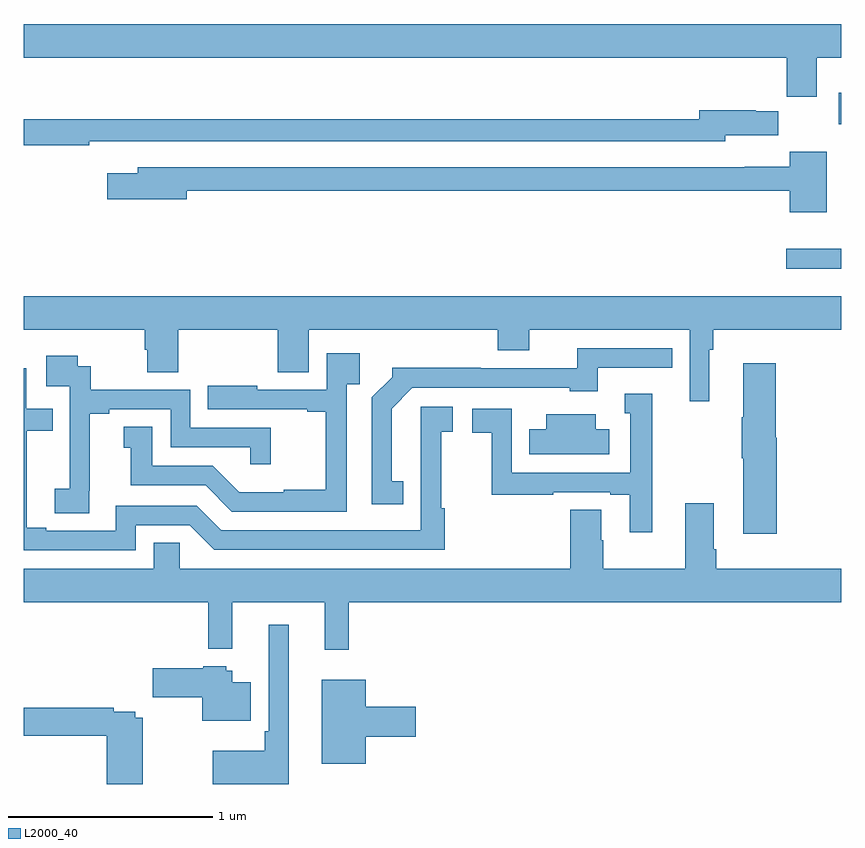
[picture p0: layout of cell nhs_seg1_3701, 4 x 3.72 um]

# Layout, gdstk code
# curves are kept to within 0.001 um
import gdstk
lib = gdstk.Library(unit=1e-6, precision=1e-09)
def R(c, l, rs):  # rectangles x0, y0, x1, y1
    for r in rs: c.add(gdstk.rectangle(r[:2], r[2:], *l))
def P(c, l, *ps):  # polygons
    for p in ps: c.add(gdstk.Polygon(p, *l))
L2000_40 = (2000, 40)

nhs_seg1_3701 = lib.new_cell('nhs_seg1_3701')
R(nhs_seg1_3701, L2000_40, [(316.731,530.72,317,530.817), (316.988,531.426,317,531.58)])
P(nhs_seg1_3701, L2000_40, [(316.879,531.752),(317,531.752),(317,531.916),(313,531.916),(313,531.752),(316.733,531.752),(316.733,531.559),(316.879,531.559)],
  [(313.322,531.342),(316.432,531.342),(316.432,531.371),(316.691,531.371),(316.691,531.489),(316.58,531.489),(316.58,531.493),(316.304,531.493),(316.304,531.451),(313,531.451),(313,531.322),(313.322,531.322)],
  [(316.927,531.292),(316.748,531.292),(316.748,531.217),(316.528,531.217),(316.528,531.216),(313.559,531.216),(313.559,531.187),(313.41,531.187),(313.41,531.058),(313.798,531.058),(313.798,531.1),(316.748,531.1),(316.748,530.996),(316.927,530.996)],
  [(316.354,530.324),(316.373,530.324),(316.373,530.42),(317,530.42),(317,530.584),(313,530.584),(313,530.42),(313.592,530.42),(313.592,530.322),(313.604,530.322),(313.604,530.212),(313.757,530.212),(313.757,530.42),(314.243,530.42),(314.243,530.212),(314.395,530.212),(314.395,530.42),(315.32,530.42),(315.32,530.321),(315.472,530.321),(315.472,530.42),(316.257,530.42),(316.257,530.07),(316.354,530.07)],
  [(314.858,529.679),(314.8,529.679),(314.8,530.035),(314.901,530.136),(315.672,530.136),(315.672,530.12),(315.808,530.12),(315.808,530.235),(316.172,530.235),(316.172,530.331),(315.709,530.331),(315.709,530.232),(315.236,530.232),(315.236,530.234),(314.802,530.234),(314.802,530.189),(314.703,530.09),(314.703,529.566),(314.858,529.566)],
  [(314.58,530.153),(314.645,530.153),(314.645,530.305),(314.484,530.305),(314.484,530.127),(314.143,530.127),(314.143,530.146),(313.9,530.146),(313.9,530.031),(314.387,530.031),(314.387,530.019),(314.479,530.019),(314.479,529.639),(314.273,529.639),(314.273,529.627),(314.054,529.627),(313.926,529.755),(313.63,529.755),(313.63,529.946),(313.49,529.946),(313.49,529.843),(313.523,529.843),(313.523,529.659),(313.89,529.659),(314.019,529.53),(314.58,529.53)],
  [(313.322,529.633),(313.324,529.633),(313.324,530.011),(313.42,530.011),(313.42,530.031),(313.719,530.031),(313.719,529.845),(314.109,529.845),(314.109,529.764),(314.21,529.764),(314.21,529.941),(313.815,529.941),(313.815,530.127),(313.328,530.127),(313.328,530.241),(313.266,530.241),(313.266,530.293),(313.11,530.293),(313.11,530.145),(313.227,530.145),(313.227,529.841),(313.226,529.841),(313.226,529.644),(313.152,529.644),(313.152,529.522),(313.322,529.522)],
  [(316.684,529.893),(316.679,529.893),(316.679,530.257),(316.52,530.257),(316.52,529.993),(316.513,529.993),(316.513,529.793),(316.52,529.793),(316.52,529.422),(316.684,529.422)],
  [(313.548,529.464),(313.812,529.464),(313.932,529.344),(315.059,529.344),(315.059,529.547),(315.042,529.547),(315.042,529.923),(315.1,529.923),(315.1,530.044),(314.942,530.044),(314.943,529.44),(313.968,529.44),(313.848,529.56),(313.452,529.56),(313.452,529.437),(313.111,529.437),(313.111,529.452),(313.015,529.452),(313.015,529.926),(313.142,529.926),(313.142,530.034),(313.014,530.034),(313.014,530.232),(313,530.232),(313,529.341),(313.548,529.341)],
  [(316.075,530.107),(315.941,530.107),(315.941,530.013),(315.966,530.013),(315.966,529.722),(315.387,529.722),(315.387,530.034),(315.195,530.034),(315.195,529.918),(315.289,529.918),(315.289,529.614),(315.59,529.614),(315.59,529.626),(315.869,529.626),(315.869,529.614),(315.965,529.614),(315.965,529.431),(316.075,529.431)],
  [(315.865,529.933),(315.799,529.933),(315.799,530.008),(315.557,530.008),(315.557,529.933),(315.472,529.933),(315.472,529.811),(315.865,529.811)],
  [(314.591,529.088),(317,529.088),(317,529.252),(316.388,529.252),(316.388,529.348),(316.375,529.348),(316.375,529.573),(316.235,529.573),(316.235,529.252),(315.834,529.252),(315.834,529.391),(315.826,529.391),(315.826,529.541),(315.674,529.541),(315.674,529.252),(313.764,529.252),(313.764,529.379),(313.637,529.379),(313.637,529.252),(313,529.252),(313,529.088),(313.903,529.088),(313.903,528.86),(314.021,528.86),(314.021,529.088),(314.474,529.088),(314.474,528.855),(314.591,528.855)],
  [(314.296,528.979),(314.199,528.979),(314.199,528.457),(314.179,528.457),(314.179,528.361),(313.926,528.361),(313.926,528.199),(314.296,528.199)],
  [(314.11,528.697),(314.02,528.697),(314.02,528.753),(313.992,528.753),(313.992,528.775),(313.878,528.775),(313.878,528.765),(313.632,528.765),(313.632,528.623),(313.874,528.623),(313.874,528.509),(314.11,528.509)],
  [(314.674,528.431),(314.917,528.431),(314.917,528.578),(314.674,528.578),(314.674,528.709),(314.459,528.709),(314.459,528.299),(314.674,528.299)],
  [(313.584,528.523),(313.546,528.523),(313.546,528.552),(313.442,528.552),(313.442,528.572),(313,528.572),(313,528.436),(313.406,528.436),(313.406,528.199),(313.584,528.199)])

lib.write_gds('nhs_seg1_3701.gds')
